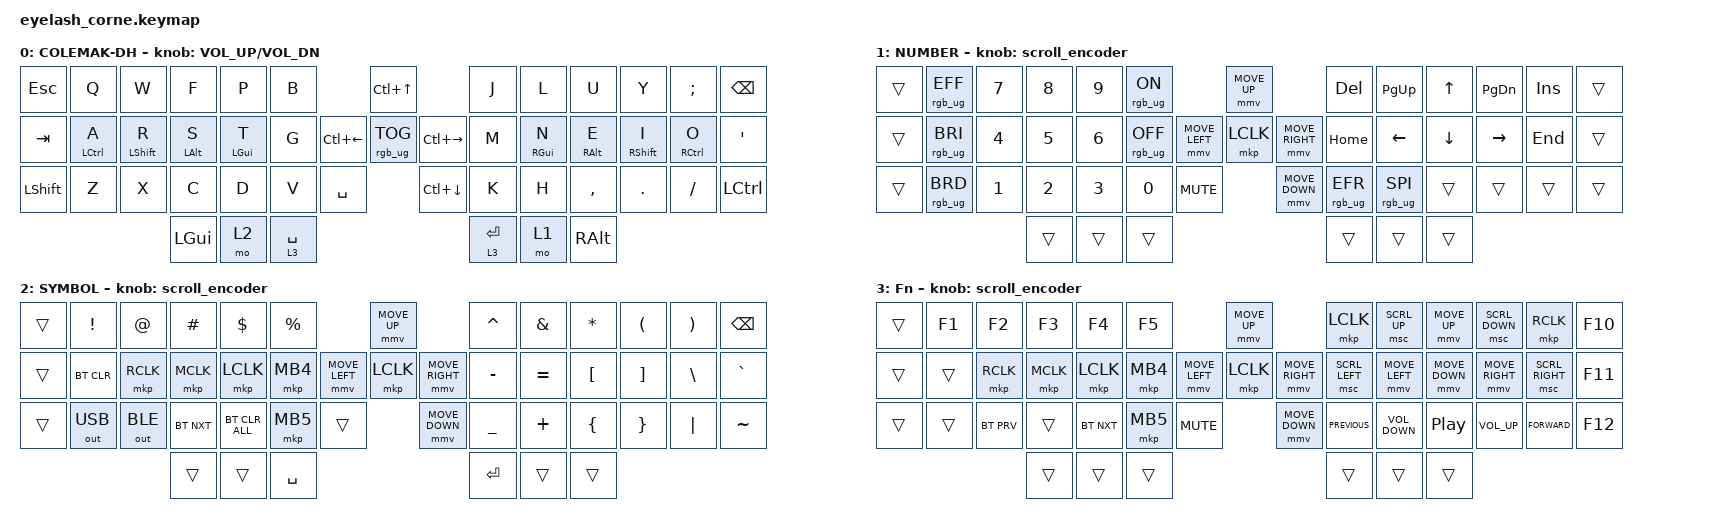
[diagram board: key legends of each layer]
#define ZMK_POINTING_DEFAULT_MOVE_VAL 1200  // 600
#define ZMK_POINTING_DEFAULT_SCRL_VAL 25   // 10

#include <input/processors.dtsi>
#include <zephyr/dt-bindings/input/input-event-codes.h>
#include <behaviors.dtsi>
#include <dt-bindings/zmk/bt.h>
#include <dt-bindings/zmk/keys.h>
#include <dt-bindings/zmk/outputs.h>
#include <dt-bindings/zmk/pointing.h>
#include <dt-bindings/zmk/rgb.h>

&mmv_input_listener { input-processors = <&zip_xy_scaler 2 1>; };

&msc_input_listener { input-processors = <&zip_scroll_scaler 2 1>; };

&msc {
    acceleration-exponent = <1>;      // 0
    time-to-max-speed-ms = <100>;       // 300
    delay-ms = <0>;                   // 0
};

&mmv {
    time-to-max-speed-ms = <500>;
    acceleration-exponent = <1>;
    trigger-period-ms = <16>;
};

&soft_off { hold-time-ms = <2000>; };

/ {
    behaviors {
        td0: td0 {
            compatible = "zmk,behavior-tap-dance";
            display-name = "Shift/Caps Lock Tap Dance";
            #binding-cells = <0>;
            bindings = <&kp LEFT_SHIFT>, <&kp CAPS>;
        };

        hm: hm {
            compatible = "zmk,behavior-hold-tap";
            label = "HM";
            bindings = <&kp>, <&kp>;

            #binding-cells = <2>;
            tapping-term-ms = <190>;
            quick-tap-ms = <180>;
            require-prior-idle-ms = <180>;
            flavor = "tap-preferred";
        };
    };

    rgb_encoder: rgb_encoder {
        compatible = "zmk,behavior-sensor-rotate";
        #sensor-binding-cells = <0>;
        bindings = <&rgb_ug RGB_BRI>, <&rgb_ug RGB_BRD>;
    };

    scroll_encoder: scroll_encoder {
        compatible = "zmk,behavior-sensor-rotate";
        #sensor-binding-cells = <0>;
        bindings = <&msc SCRL_DOWN>, <&msc SCRL_UP>;

        tap-ms = <100>;
    };

    combos {
        compatible = "zmk,combos";

        softoff {
            bindings = <&soft_off>;
            key-positions = <1 15 29>;
        };

        coso {
            bindings = <&bt BT_CLR_ALL>;
            key-positions = <14 15 16 17>;
        };
    };

    keymap {
        compatible = "zmk,keymap";

        default_layer {
            display-name = "COLEMAK-DH";
            bindings = <
&kp ESC         &kp Q        &kp W             &kp F           &kp P           &kp B                                   &kp LC(UP)                      &kp J        &kp L            &kp U            &kp Y         &kp SEMICOLON  &kp BSPC
&kp TAB         &hm LCTRL A  &hm LEFT_SHIFT R  &hm LEFT_ALT S  &hm LEFT_GUI T  &kp G                     &kp LC(LEFT)  &rgb_ug RGB_TOG  &kp LC(RIGHT)  &kp M        &hm RIGHT_GUI N  &hm RIGHT_ALT E  &hm RSHIFT I  &hm RCTRL O    &kp SQT
&kp LEFT_SHIFT  &kp Z        &kp X             &kp C           &kp D           &kp V        &kp SPACE                  &kp LC(DOWN)                    &kp K        &kp H            &kp COMMA        &kp PERIOD    &kp SLASH      &kp LEFT_CONTROL
                                               &kp LGUI        &mo 2           &lt 3 SPACE                                                             &lt 3 ENTER  &mo 1            &kp RALT
            >;

            sensor-bindings = <&inc_dec_kp C_VOLUME_UP C_VOL_DN>;
        };

        lower_layer {
            display-name = "NUMBER";
            bindings = <
&trans  &rgb_ug RGB_EFF  &kp N7        &kp N8        &kp NUMBER_9  &rgb_ug RGB_ON                                 &mmv MOVE_UP                     &kp DEL          &kp PAGE_UP      &kp UP_ARROW  &kp PAGE_DOWN  &kp INSERT  &trans
&trans  &rgb_ug RGB_BRI  &kp NUMBER_4  &kp N5        &kp NUMBER_6  &rgb_ug RGB_OFF                &mmv MOVE_LEFT  &mkp LCLK       &mmv MOVE_RIGHT  &kp HOME         &kp LEFT         &kp DOWN      &kp RIGHT      &kp END     &trans
&trans  &rgb_ug RGB_BRD  &kp NUMBER_1  &kp NUMBER_2  &kp NUMBER_3  &kp N0           &kp C_MUTE                    &mmv MOVE_DOWN                   &rgb_ug RGB_EFR  &rgb_ug RGB_SPI  &trans        &trans         &trans      &trans
                                       &trans        &trans        &trans                                                                          &trans           &trans           &trans
            >;

            sensor-bindings = <&scroll_encoder>;
        };

        raise_layer {
            display-name = "SYMBOL";
            bindings = <
&trans  &kp EXCL      &kp AT        &kp HASH    &kp DLLR        &kp PRCNT                            &mmv MOVE_UP                     &kp CARET  &kp AMPS   &kp ASTRK  &kp LPAR  &kp RPAR  &kp BSPC
&trans  &bt BT_CLR    &mkp RCLK     &mkp MCLK   &mkp LCLK       &mkp MB4             &mmv MOVE_LEFT  &mkp LCLK       &mmv MOVE_RIGHT  &kp MINUS  &kp EQUAL  &kp LBKT   &kp RBKT  &kp BSLH  &kp GRAVE
&trans  &out OUT_USB  &out OUT_BLE  &bt BT_NXT  &bt BT_CLR_ALL  &mkp MB5   &trans                    &mmv MOVE_DOWN                   &kp UNDER  &kp PLUS   &kp LBRC   &kp RBRC  &kp PIPE  &kp TILDE
                                    &trans      &trans          &kp SPACE                                                             &kp RET    &trans     &trans
            >;

            sensor-bindings = <&scroll_encoder>;
        };

        layer_3 {
            display-name = "Fn";
            bindings = <
&trans  &kp F1  &kp F2      &kp F3     &kp F4      &kp F5                                  &mmv MOVE_UP                     &mkp LCLK       &msc SCRL_UP       &mmv MOVE_UP      &msc SCRL_DOWN   &mkp RCLK        &kp F10
&trans  &trans  &mkp RCLK   &mkp MCLK  &mkp LCLK   &mkp MB4                &mmv MOVE_LEFT  &mkp LCLK       &mmv MOVE_RIGHT  &msc SCRL_LEFT  &mmv MOVE_LEFT     &mmv MOVE_DOWN    &mmv MOVE_RIGHT  &msc SCRL_RIGHT  &kp F11
&trans  &trans  &bt BT_PRV  &trans     &bt BT_NXT  &mkp MB5  &kp C_MUTE                    &mmv MOVE_DOWN                   &kp K_PREVIOUS  &kp K_VOLUME_DOWN  &kp C_PLAY_PAUSE  &kp K_VOLUME_UP  &kp K_FORWARD    &kp F12
                            &trans     &trans      &trans                                                                   &trans          &trans             &trans
            >;

            sensor-bindings = <&scroll_encoder>;
        };
    };
};
